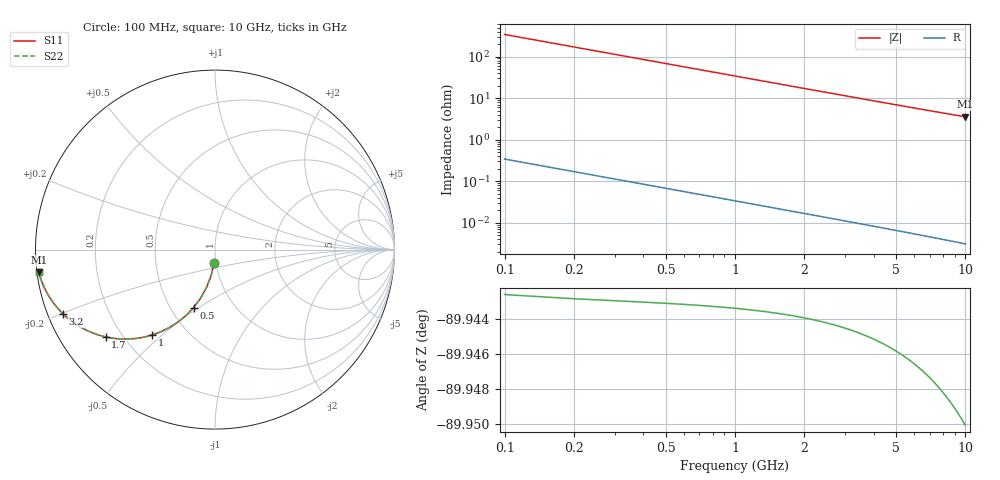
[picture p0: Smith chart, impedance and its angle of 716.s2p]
# Hz S RI R 50.00
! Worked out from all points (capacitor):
!   100 points, 100 MHz to 10 GHz, reference 50 ohm
!   read as one part in shunt: C = 4.68 pF near 100 MHz
!   lowest |Z| = 3.54 ohm at 10 GHz (marker M1)
!   S11 on the Smith chart (normalised r, x): 100 MHz: 0.98, -0.14; 500 MHz: 0.65, -0.48; 1 GHz: 0.32, -0.46; 1.7 GHz: 0.14, -0.34; 3.2 GHz: 0.04, -0.20; 10 GHz: 0.01, -0.06
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1e8  -0.00544 -0.0731  0.9945 -0.0732  0.9945 -0.0732  -0.00544 -0.0731
2e8  -0.0213 -0.1438  0.9787 -0.1441  0.9787 -0.1441  -0.0213 -0.1438
3e8  -0.0466 -0.2102  0.9534 -0.2105  0.9534 -0.2105  -0.0466 -0.2102
4e8  -0.0799 -0.2704  0.9201 -0.2709  0.9201 -0.2709  -0.0799 -0.2704
5e8  -0.1194 -0.3234  0.8806 -0.324  0.8806 -0.324  -0.1194 -0.3234
6e8  -0.1632 -0.3687  0.8368 -0.3694  0.8368 -0.3694  -0.1632 -0.3687
7e8  -0.2097 -0.4062  0.7903 -0.407  0.7903 -0.407  -0.2097 -0.4062
8e8  -0.2573 -0.4362  0.7427 -0.4371  0.7427 -0.4371  -0.2573 -0.4362
1e9  -0.351 -0.4762  0.649 -0.4774  0.649 -0.4774  -0.351 -0.4762
1.3e9  -0.4772 -0.4982  0.5227 -0.4997  0.5227 -0.4997  -0.4772 -0.4982
1.7e9  -0.6092 -0.4864  0.3907 -0.4884  0.3907 -0.4884  -0.6092 -0.4864
1.8e9  -0.636 -0.4796  0.364 -0.4817  0.364 -0.4817  -0.636 -0.4796
2.1e9  -0.7038 -0.4548  0.2962 -0.4573  0.2962 -0.4573  -0.7038 -0.4548
2.4e9  -0.7561 -0.4275  0.2438 -0.4303  0.2438 -0.4303  -0.7561 -0.4275
2.8e9  -0.8083 -0.3915  0.1917 -0.3948  0.1917 -0.3948  -0.8083 -0.3915
3.2e9  -0.8462 -0.3584  0.1538 -0.3622  0.1538 -0.3622  -0.8462 -0.3584
3.4e9  -0.8612 -0.3431  0.1387 -0.3472  0.1387 -0.3472  -0.8612 -0.3431
4.2e9  -0.9044 -0.291  0.0956 -0.296  0.0956 -0.296  -0.9044 -0.291
5.1e9  -0.933 -0.2464  0.0669 -0.2525  0.0669 -0.2525  -0.933 -0.2464
6.7e9  -0.96 -0.1912  0.0399 -0.1993  0.0399 -0.1993  -0.96 -0.1912
8.4e9  -0.9742 -0.1526  0.0257 -0.1629  0.0257 -0.1629  -0.9742 -0.1526
1e10  -0.9817 -0.127  0.0181 -0.1393  0.0181 -0.1393  -0.9817 -0.127
